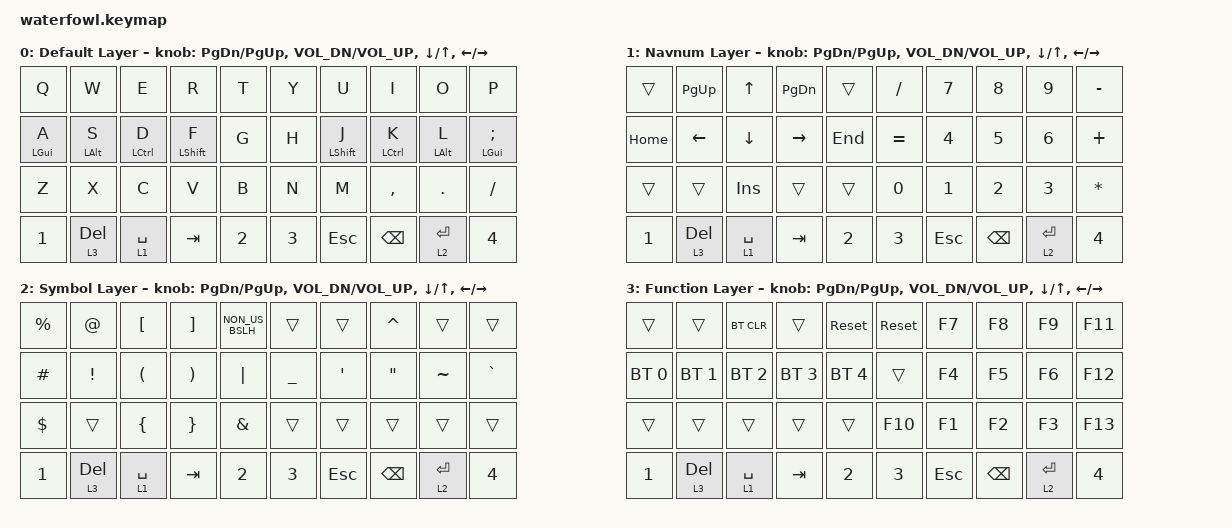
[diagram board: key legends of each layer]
/*
 * Copyright (c) 2022 The ZMK Contributors
 *
 * SPDX-License-Identifier: MIT
 */

#include <behaviors.dtsi>
#include <dt-bindings/zmk/keys.h>
#include <dt-bindings/zmk/bt.h>

/ {
    keymap {
        compatible = "zmk,keymap";

        default_layer {
            display-name = "Default Layer";
            /* QWERTY
             *
             * ,----------------------------------.                      ,----------------------------------.
             * |   Q  |   W  |   E  |   R  |   T  |                      |   Y  |   U  |   I  |   O  |   P  |
             * |------+------+------+------+------|                      |------+------+------+------+------|
             * |   A  |   S  |   D  |   F  |   G  |                      |   H  |   J  |   K  |   L  |   ;  |
             * |------+------+------+------+------|  ,-----.    ,-----.  |------+------+------+------+------|
             * |   Z  |   X  |   C  |   V  |   B  |  |  2  |    |  3  |  |   N  |   M  |   ,  |   .  |   /  |
             * `----------------------------------'  `-----'    `-----'  `----------------------------------'
             *          ,-----.   ,--------------------.            ,--------------------.   ,-----.
             *          |  1  |   | DEL | SPACE | TAB  |            |  ESC  | BS | ENTER |   |  4  |
             *          `-----'   `--------------------'            `--------------------'   `-----'
             */
            bindings = <&kp Q &kp W &kp E &kp R &kp T &kp Y &kp U &kp I &kp O &kp P
                        &mt LGUI A &mt LALT S &mt LCTRL D &mt LSHFT F &kp G &kp H &mt LSHFT J &mt LCTRL K &mt LALT L &mt
                        LGUI SEMI &kp Z &kp X &kp C &kp V &kp B &kp N &kp M &kp COMMA &kp DOT &kp FSLH
                        &kp N1 &lt 3 DEL &lt 1 SPACE &kp TAB &kp N2 &kp N3 &kp ESC &kp BSPC &lt 2 RET &kp N4>;

            sensor-bindings = <&inc_dec_kp PAGE_DOWN PAGE_UP
                               &inc_dec_kp C_VOL_DN C_VOL_UP
                               &inc_dec_kp DOWN UP
                               &inc_dec_kp LEFT RIGHT>;
        };

        navnum_layer {
            display-name = "Navnum Layer";
            /* NAVNUM
             *
             * ,----------------------------------.                      ,----------------------------------.
             * |      | PgUp |  UP  | PgDn |      |                      |   /  |   7  |   8  |   9  |   -  |
             * |------+------+------+------+------|                      |------+------+------+------+------|
             * | Home | Left | Down | Right| End  |                      |   =  |   4  |   5  |   6  |   +  |
             * |------+------+------+------+------|  ,-----.    ,-----.  |------+------+------+------+------|
             * |      |      |  INS |      |      |  |  2  |    |  3  |  |   0  |   1  |   2  |   3  |   *  |
             * `----------------------------------'  `-----'    `-----'  `----------------------------------'
             *          ,-----.   ,--------------------.            ,--------------------.   ,-----.
             *          |  1  |   | DEL | SPACE | MO(3)|            |  ESC  | BS | ENTER |   |  4  |
             *          `-----'   `--------------------'            `--------------------'   `-----'
             */
            bindings = <&trans &kp PG_UP &kp UP &kp PG_DN &trans &kp FSLH &kp N7 &kp N8 &kp N9 &kp MINUS
                        &kp HOME &kp LEFT &kp DOWN &kp RIGHT &kp END &kp EQUAL &kp N4 &kp N5 &kp N6 &kp PLUS
                        &trans &trans &kp INS &trans &trans &kp N0 &kp N1 &kp N2 &kp N3 &kp ASTERISK
                        &kp N1 &lt 3 DEL &lt 1 SPACE &kp TAB &kp N2 &kp N3 &kp ESC &kp BSPC &lt 2 RET &kp N4>;

            sensor-bindings = <&inc_dec_kp PAGE_DOWN PAGE_UP
                               &inc_dec_kp C_VOL_DN C_VOL_UP
                               &inc_dec_kp DOWN UP
                               &inc_dec_kp LEFT RIGHT>;
        };

        symbol_layer {
            display-name = "Symbol Layer";
            /* SYM
             *
             * ,----------------------------------.                      ,----------------------------------.
             * |   %  |   @  |   [  |   ]  |   \  |                      |      |      |   ^  |      |      |
             * |------+------+------+------+------|                      |------+------+------+------+------|
             * |   #  |   !  |   (  |   )  |   |  |                      |   _  |   '  |   "  |   ~  |   `  |
             * |------+------+------+------+------|  ,-----.    ,-----.  |------+------+------+------+------|
             * |   $  |      |   {  |   }  |   &  |  |  2  |    |  3  |  |      |      |      |      |      |
             * `----------------------------------'  `-----'    `-----'  `----------------------------------'
             *          ,-----.   ,--------------------.            ,--------------------.   ,-----.
             *          |  1  |   | DEL | SPACE | TAB  |            |  ESC  | BS | ENTER |   |  4  |
             *          `-----'   `--------------------'            `--------------------'   `-----'
             */
            bindings = <&kp PRCNT &kp AT &kp LBKT &kp RBKT &kp NON_US_BSLH &trans &trans &kp CARET &trans &trans
                        &kp HASH &kp EXCL &kp LPAR &kp RPAR &kp PIPE &kp UNDER &kp APOS &kp DOUBLE_QUOTES &kp TILDE &kp
                        GRAVE &kp DLLR &trans &kp LBRC &kp RBRC &kp AMPS &trans &trans &trans &trans &trans
                        &kp N1 &lt 3 DEL &lt 1 SPACE &kp TAB &kp N2 &kp N3 &kp ESC &kp BSPC &lt 2 RET &kp N4>;

            sensor-bindings = <&inc_dec_kp PAGE_DOWN PAGE_UP
                               &inc_dec_kp C_VOL_DN C_VOL_UP
                               &inc_dec_kp DOWN UP
                               &inc_dec_kp LEFT RIGHT>;
        };

        function_layer {
            display-name = "Function Layer";
            /* FUNC
             *
             * ,----------------------------------.                      ,----------------------------------.
             * |      |      | BTCLR|      | Reset|                      | Reset|  F7  |  F8  |  F9  |  F11 |
             * |------+------+------+------+------|                      |------+------+------+------+------|
             * |  BT0 |  BT1 |  BT2 |  BT3 |  BT4 |                      |      |  F4  |  F5  |  F6  |  F12 |
             * |------+------+------+------+------|  ,-----.    ,-----.  |------+------+------+------+------|
             * |      |      |      |      |      |  |  2  |    |  3  |  |  F10 |  F1  |  F2  |  F3  |  F13 |
             * `----------------------------------'  `-----'    `-----'  `----------------------------------'
             *          ,-----.   ,--------------------.            ,--------------------.   ,-----.
             *          |  1  |   | DEL | SPACE | TAB  |            |  ESC  | BS | ENTER |   |  4  |
             *          `-----'   `--------------------'            `--------------------'   `-----'
             */
            bindings = <&trans &trans &bt BT_CLR &trans &sys_reset &sys_reset &kp F7 &kp F8 &kp F9 &kp F11
                        &bt BT_SEL 0 &bt BT_SEL 1 &bt BT_SEL 2 &bt BT_SEL 3 &bt BT_SEL 4 &trans &kp F4 &kp F5 &kp F6 &kp
                        F12 &trans &trans &trans &trans &trans &kp F10 &kp F1 &kp F2 &kp F3 &kp F13
                        &kp N1 &lt 3 DEL &lt 1 SPACE &kp TAB &kp N2 &kp N3 &kp ESC &kp BSPC &lt 2 RET &kp N4>;

            sensor-bindings = <&inc_dec_kp PAGE_DOWN PAGE_UP
                               &inc_dec_kp C_VOL_DN C_VOL_UP
                               &inc_dec_kp DOWN UP
                               &inc_dec_kp LEFT RIGHT>;
        };
    };
};
